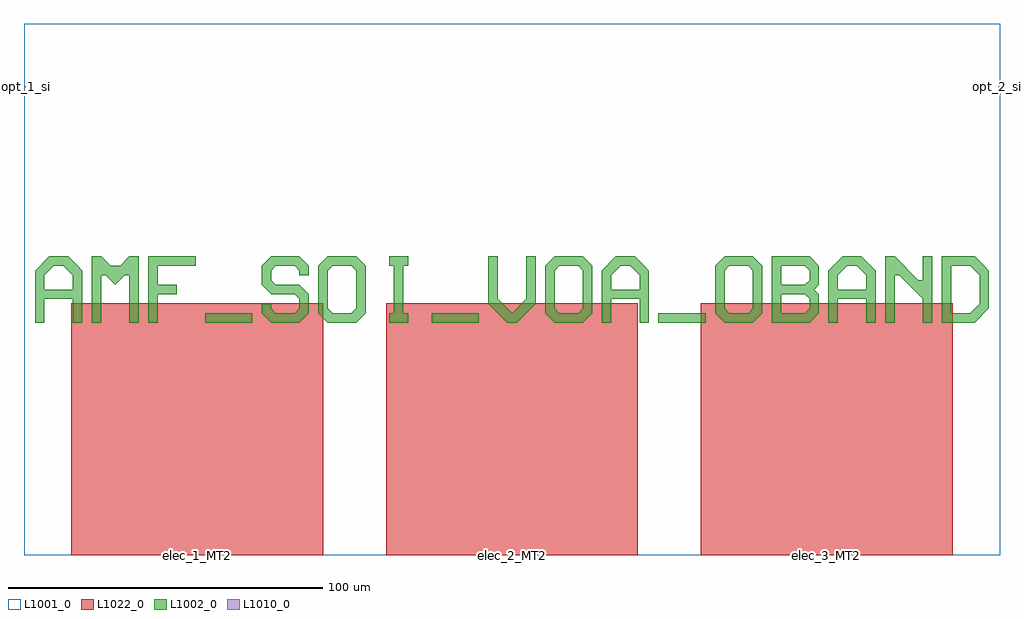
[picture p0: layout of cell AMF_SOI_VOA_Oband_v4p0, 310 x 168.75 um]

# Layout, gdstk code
import gdstk
lib = gdstk.Library(unit=1e-6, precision=1e-09)
def R(c, l, rs):  # rectangles x0, y0, x1, y1
    for r in rs: c.add(gdstk.rectangle(r[:2], r[2:], *l))
def A(c, l, x, y, w, h, nx, ny, dx, dy):  # array of equal rectangles
    R(c, l, [(x+i*dx, y+j*dy, x+i*dx+w, y+j*dy+h) for i in range(nx) for j in range(ny)])
def P(c, l, *ps):  # polygons
    for p in ps: c.add(gdstk.Polygon(p, *l))
L1001_0 = (1001, 0)
L1002_0 = (1002, 0)
L1010_0 = (1010, 0)
L1022_0 = (1022, 0)

amf_soi_voa_oband_v4p0 = lib.new_cell('AMF_SOI_VOA_Oband_v4p0')
R(amf_soi_voa_oband_v4p0, L1001_0, [(0,-148.75,310,20)])
A(amf_soi_voa_oband_v4p0, L1002_0, 57.5, -74.875, 15, 3, 3, 1, 72, 0)
P(amf_soi_voa_oband_v4p0, L1002_0, [(3.5,-74.875),(3.5,-58.375),(8,-53.875),(14,-53.875),(17,-56.875),(9.5,-56.875),(6.5,-59.875),(6.5,-64.375),(15.5,-64.375),(15.5,-59.875),(12.5,-56.875),(17,-56.875),(18.5,-58.375),(18.5,-74.875),(15.5,-74.875),(15.5,-67.375),(6.5,-67.375),(6.5,-74.875)],
  [(21.5,-74.875),(21.5,-53.875),(24.5,-53.875),(27.5,-56.875),(30.5,-56.875),(33.5,-53.875),(36.5,-53.875),(36.5,-74.875),(33.5,-74.875),(33.5,-59.875),(32,-59.875),(29,-62.875),(26,-59.875),(24.5,-59.875),(24.5,-74.875)],
  [(39.5,-74.875),(39.5,-53.875),(54.5,-53.875),(54.5,-56.875),(42.5,-56.875),(42.5,-62.875),(48.5,-62.875),(48.5,-65.875),(42.5,-65.875),(42.5,-74.875)],
  [(78.5,-74.875),(75.5,-71.875),(75.5,-68.875),(78.5,-68.875),(78.5,-70.375),(80,-71.875),(86,-71.875),(87.5,-70.375),(87.5,-67.375),(86,-65.875),(78.5,-65.875),(75.5,-62.875),(75.5,-56.875),(78.5,-53.875),(87.5,-53.875),(90.5,-56.875),(90.5,-59.875),(87.5,-59.875),(87.5,-58.375),(86,-56.875),(80,-56.875),(78.5,-58.375),(78.5,-61.375),(80,-62.875),(87.5,-62.875),(90.5,-65.875),(90.5,-71.875),(87.5,-74.875)],
  [(96.5,-74.875),(93.5,-71.875),(93.5,-56.875),(96.5,-53.875),(105.5,-53.875),(108.5,-56.875),(108.5,-64.375),(105.5,-64.375),(105.5,-58.375),(104,-56.875),(98,-56.875),(96.5,-58.375),(96.5,-70.375),(98,-71.875),(104,-71.875),(105.5,-70.375),(105.5,-64.375),(108.5,-64.375),(108.5,-71.875),(105.5,-74.875)],
  [(116,-74.875),(116,-71.875),(117.5,-71.875),(117.5,-56.875),(116,-56.875),(116,-53.875),(122,-53.875),(122,-56.875),(120.5,-56.875),(120.5,-71.875),(122,-71.875),(122,-74.875)],
  [(153.5,-74.875),(147.5,-68.875),(147.5,-53.875),(150.5,-53.875),(150.5,-67.375),(155,-71.875),(159.5,-67.375),(159.5,-53.875),(162.5,-53.875),(162.5,-68.875),(156.5,-74.875)],
  [(168.5,-74.875),(165.5,-71.875),(165.5,-56.875),(168.5,-53.875),(177.5,-53.875),(180.5,-56.875),(180.5,-64.375),(177.5,-64.375),(177.5,-58.375),(176,-56.875),(170,-56.875),(168.5,-58.375),(168.5,-70.375),(170,-71.875),(176,-71.875),(177.5,-70.375),(177.5,-64.375),(180.5,-64.375),(180.5,-71.875),(177.5,-74.875)],
  [(183.5,-74.875),(183.5,-58.375),(188,-53.875),(194,-53.875),(197,-56.875),(189.5,-56.875),(186.5,-59.875),(186.5,-64.375),(195.5,-64.375),(195.5,-59.875),(192.5,-56.875),(197,-56.875),(198.5,-58.375),(198.5,-74.875),(195.5,-74.875),(195.5,-67.375),(186.5,-67.375),(186.5,-74.875)],
  [(222.5,-74.875),(219.5,-71.875),(219.5,-56.875),(222.5,-53.875),(231.5,-53.875),(234.5,-56.875),(234.5,-64.375),(231.5,-64.375),(231.5,-58.375),(230,-56.875),(224,-56.875),(222.5,-58.375),(222.5,-70.375),(224,-71.875),(230,-71.875),(231.5,-70.375),(231.5,-64.375),(234.5,-64.375),(234.5,-71.875),(231.5,-74.875)],
  [(237.5,-74.875),(237.5,-53.875),(249.5,-53.875),(252.5,-56.875),(240.5,-56.875),(240.5,-62.875),(248,-62.875),(249.5,-61.375),(249.5,-58.375),(248,-56.875),(252.5,-56.875),(252.5,-62.875),(251,-64.375),(252.5,-65.875),(240.5,-65.875),(240.5,-71.875),(248,-71.875),(249.5,-70.375),(249.5,-67.375),(248,-65.875),(252.5,-65.875),(252.5,-71.875),(249.5,-74.875)],
  [(255.5,-74.875),(255.5,-58.375),(260,-53.875),(266,-53.875),(269,-56.875),(261.5,-56.875),(258.5,-59.875),(258.5,-64.375),(267.5,-64.375),(267.5,-59.875),(264.5,-56.875),(269,-56.875),(270.5,-58.375),(270.5,-74.875),(267.5,-74.875),(267.5,-67.375),(258.5,-67.375),(258.5,-74.875)],
  [(273.5,-74.875),(273.5,-53.875),(276.5,-53.875),(284,-61.375),(285.5,-61.375),(285.5,-53.875),(288.5,-53.875),(288.5,-74.875),(285.5,-74.875),(285.5,-67.375),(278,-59.875),(276.5,-59.875),(276.5,-74.875)],
  [(291.5,-74.875),(291.5,-53.875),(302,-53.875),(305,-56.875),(294.5,-56.875),(294.5,-71.875),(300.5,-71.875),(303.5,-68.875),(303.5,-59.875),(300.5,-56.875),(305,-56.875),(306.5,-58.375),(306.5,-70.375),(302,-74.875)])
R(amf_soi_voa_oband_v4p0, L1010_0, [(0,-0.205,0.5,0.205), (309.5,-0.205,310,0.205)])
A(amf_soi_voa_oband_v4p0, L1022_0, 15, -148.75, 80, 80, 3, 1, 100, 0)
amf_soi_voa_oband_v4p0.add(gdstk.Label('opt_1_si', (0,0), layer=1010, texttype=0))
amf_soi_voa_oband_v4p0.add(gdstk.Label('opt_2_si', (310,0), layer=1010, texttype=0))
amf_soi_voa_oband_v4p0.add(gdstk.Label('elec_1_MT2', (55,-148.75), layer=1022, texttype=0))
amf_soi_voa_oband_v4p0.add(gdstk.Label('elec_2_MT2', (155,-148.75), layer=1022, texttype=0))
amf_soi_voa_oband_v4p0.add(gdstk.Label('elec_3_MT2', (255,-148.75), layer=1022, texttype=0))

lib.write_gds('AMF_SOI_VOA_Oband_v4p0.gds')
